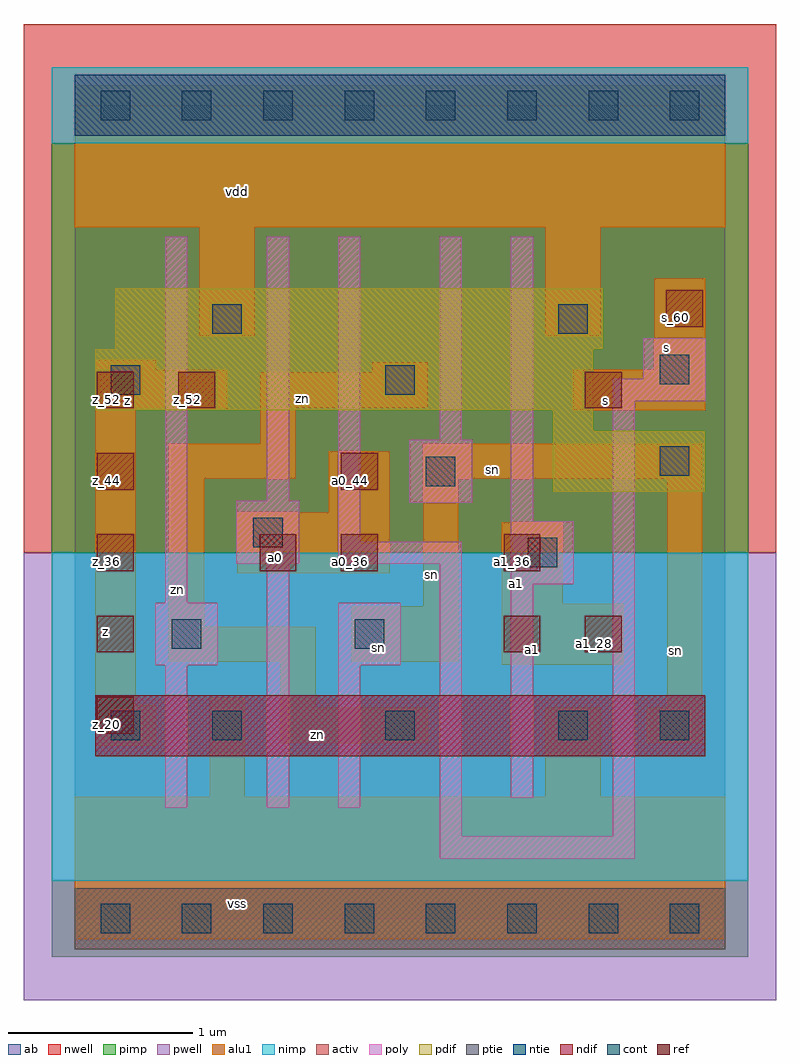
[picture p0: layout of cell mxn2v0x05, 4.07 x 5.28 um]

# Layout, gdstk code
import gdstk
lib = gdstk.Library(unit=1e-6, precision=2.5e-09)
def R(c, l, rs):  # rectangles x0, y0, x1, y1
    for r in rs: c.add(gdstk.rectangle(r[:2], r[2:], *l))
def A(c, l, x, y, w, h, nx, ny, dx, dy):  # array of equal rectangles
    R(c, l, [(x+i*dx, y+j*dy, x+i*dx+w, y+j*dy+h) for i in range(nx) for j in range(ny)])
ndif = (3, 0)
pdif = (4, 0)
ntie = (5, 0)
ptie = (6, 0)
ref = (24, 0)
cont = (25, 0)
pwell = (41, 0)
nwell = (42, 0)
activ = (43, 0)
pimp = (44, 0)
nimp = (45, 0)
poly = (46, 0)
alu1 = (49, 0)
ab = (63, 0)

mxn2v0x05 = lib.new_cell('mxn2v0x05')
R(mxn2v0x05, ndif, [(0.11,0.88,3.41,1.21)])
R(mxn2v0x05, pdif, [(2.585,2.31,3.41,2.64), (2.585,2.64,2.805,2.75), (0.11,2.75,2.805,3.08), (0.22,3.08,2.86,3.41)])
R(mxn2v0x05, ntie, [(0,4.235,3.52,4.565)])
R(mxn2v0x05, ptie, [(0,-0.165,3.52,0.165)])
A(mxn2v0x05, ref, 0.12, 1, 0.2, 0.2, 1, 5, 0, 0.44)
R(mxn2v0x05, ref, [(2.32,1.44,2.52,1.64), (2.76,1.44,2.96,1.64), (1,1.88,1.2,2.08), (1.44,1.88,1.64,2.08), (2.32,1.88,2.52,2.08), (1.44,2.32,1.64,2.52), (0.56,2.76,0.76,2.96), (2.76,2.76,2.96,2.96), (3.2,3.2,3.4,3.4)])
A(mxn2v0x05, cont, 0.14, -0.08, 0.16, 0.16, 8, 2, 0.44, 4.4)
A(mxn2v0x05, cont, 0.745, 0.965, 0.16, 0.16, 3, 1, 0.935, 0)
R(mxn2v0x05, cont, [(0.195,0.965,0.355,1.125), (3.165,0.965,3.325,1.125), (0.525,1.46,0.685,1.62), (1.515,1.46,1.675,1.62), (2.45,1.9,2.61,2.06), (0.965,2.01,1.125,2.17), (1.9,2.34,2.06,2.5), (3.165,2.395,3.325,2.555), (0.195,2.835,0.355,2.995), (1.68,2.835,1.84,2.995), (3.165,2.89,3.325,3.05), (0.745,3.165,0.905,3.325), (2.615,3.165,2.775,3.325)])
R(mxn2v0x05, pwell, [(-0.275,-0.44,3.795,1.98)])
R(mxn2v0x05, nwell, [(-0.275,1.98,3.795,4.84)])
R(mxn2v0x05, activ, [(0,-0.165,3.52,0.165), (0.11,0.88,3.41,1.21), (2.585,2.31,3.41,2.64), (2.585,2.64,2.805,2.75), (0.11,2.75,2.805,3.08), (0.22,3.08,2.86,3.41), (0,4.235,3.52,4.565)])
R(mxn2v0x05, pimp, [(-0.125,-0.205,3.645,0.205), (-0.125,1.98,3.645,4.195)])
R(mxn2v0x05, nimp, [(-0.125,0.205,3.645,1.98), (-0.125,4.195,3.645,4.605)])
R(mxn2v0x05, poly, [(1.975,0.325,3.03,0.445), (1.975,0.445,2.095,1.92), (2.91,0.445,3.03,2.8), (0.49,0.6,0.61,1.37), (1.04,0.6,1.16,1.92), (1.425,0.6,1.545,1.37), (2.36,0.655,2.48,1.81), (0.435,1.37,0.775,1.71), (1.425,1.37,1.765,1.71), (0.49,1.71,0.61,3.69), (2.36,1.81,2.7,2.15), (0.875,1.92,1.215,2.26), (1.425,1.92,2.095,2.04), (1.425,2.04,1.545,3.69), (2.36,2.15,2.48,3.69), (1.81,2.25,2.15,2.59), (1.04,2.26,1.16,3.69), (1.975,2.59,2.095,3.69), (2.91,2.8,3.415,2.92), (3.075,2.92,3.415,3.14)])
R(mxn2v0x05, alu1, [(0,-0.11,3.52,0.66), (0.73,0.66,0.92,1.195), (2.545,0.66,2.845,1.14), (0.11,0.935,0.44,1.155), (1.115,0.95,1.91,1.14), (3.095,0.95,3.395,1.14), (1.115,1.14,1.305,1.39), (3.205,1.14,3.395,2.38), (0.11,1.155,0.33,2.75), (2.31,1.375,2.97,1.705), (0.51,1.39,1.305,1.58), (1.5,1.39,2.075,1.69), (0.51,1.58,0.7,2.38), (1.885,1.69,2.075,2.38), (2.31,1.705,2.64,2.145), (0.88,1.87,1.705,2.2), (1.375,2.2,1.705,2.53), (0.51,2.38,1.195,2.57), (1.885,2.38,3.395,2.57), (1.005,2.57,1.195,2.765), (0.11,2.75,0.825,2.97), (2.695,2.75,3.41,2.97), (1.005,2.765,1.91,2.955), (1.61,2.955,1.91,3.01), (0.11,2.97,0.44,3.025), (3.135,2.97,3.41,3.465), (0.675,3.15,0.975,3.74), (2.545,3.15,2.845,3.74), (0,3.74,3.52,4.51)])
R(mxn2v0x05, ab, [(0,0,3.52,4.4)])
mxn2v0x05.add(gdstk.Label('vss', (0.88,0.0825), layer=49, texttype=0))
mxn2v0x05.add(gdstk.Label('zn', (1.3125,0.9975), layer=49, texttype=0))
mxn2v0x05.add(gdstk.Label('sn', (3.2525,1.45), layer=49, texttype=0))
mxn2v0x05.add(gdstk.Label('a1', (2.475,1.4575), layer=49, texttype=0))
mxn2v0x05.add(gdstk.Label('a1', (2.3925,1.815), layer=49, texttype=0))
mxn2v0x05.add(gdstk.Label('sn', (1.6425,1.465), layer=49, texttype=0))
mxn2v0x05.add(gdstk.Label('sn', (1.9325,1.8625), layer=49, texttype=0))
mxn2v0x05.add(gdstk.Label('sn', (2.2625,2.4275), layer=49, texttype=0))
mxn2v0x05.add(gdstk.Label('a0', (1.085,1.9525), layer=49, texttype=0))
mxn2v0x05.add(gdstk.Label('zn', (0.5575,1.78), layer=49, texttype=0))
mxn2v0x05.add(gdstk.Label('s', (2.8725,2.805), layer=49, texttype=0))
mxn2v0x05.add(gdstk.Label('z', (0.165,1.5525), layer=49, texttype=0))
mxn2v0x05.add(gdstk.Label('zn', (1.23,2.8125), layer=49, texttype=0))
mxn2v0x05.add(gdstk.Label('s', (3.2025,3.0925), layer=49, texttype=0))
mxn2v0x05.add(gdstk.Label('z', (0.2875,2.805), layer=49, texttype=0))
mxn2v0x05.add(gdstk.Label('vdd', (0.88,3.9325), layer=49, texttype=0))
mxn2v0x05.add(gdstk.Label('a0_36', (1.05,1.93), layer=24, texttype=0))
mxn2v0x05.add(gdstk.Label('a0_44', (1.49,2.37), layer=24, texttype=0))
mxn2v0x05.add(gdstk.Label('s_60', (3.25,3.25), layer=24, texttype=0))
mxn2v0x05.add(gdstk.Label('z_28', (0.17,1.49), layer=24, texttype=0))
mxn2v0x05.add(gdstk.Label('z_20', (0.17,1.05), layer=24, texttype=0))
mxn2v0x05.add(gdstk.Label('z_36', (0.17,1.93), layer=24, texttype=0))
mxn2v0x05.add(gdstk.Label('z_44', (0.17,2.37), layer=24, texttype=0))
mxn2v0x05.add(gdstk.Label('z_52', (0.17,2.81), layer=24, texttype=0))
mxn2v0x05.add(gdstk.Label('a1_36', (2.37,1.93), layer=24, texttype=0))
mxn2v0x05.add(gdstk.Label('a1_28', (2.37,1.49), layer=24, texttype=0))
mxn2v0x05.add(gdstk.Label('a1_28', (2.81,1.49), layer=24, texttype=0))
mxn2v0x05.add(gdstk.Label('s_52', (2.81,2.81), layer=24, texttype=0))
mxn2v0x05.add(gdstk.Label('z_52', (0.61,2.81), layer=24, texttype=0))
mxn2v0x05.add(gdstk.Label('a0_36', (1.49,1.93), layer=24, texttype=0))

lib.write_gds('mxn2v0x05.gds')
